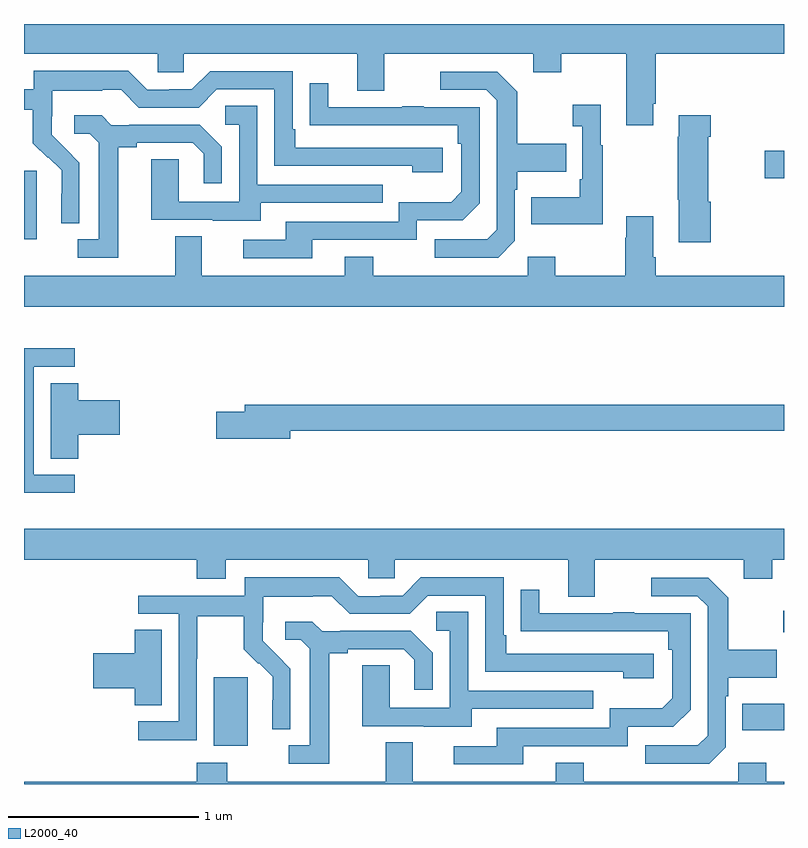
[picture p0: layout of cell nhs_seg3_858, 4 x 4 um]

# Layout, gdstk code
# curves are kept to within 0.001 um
import gdstk
lib = gdstk.Library(unit=1e-6, precision=1e-09)
def R(c, l, rs):  # rectangles x0, y0, x1, y1
    for r in rs: c.add(gdstk.rectangle(r[:2], r[2:], *l))
def P(c, l, *ps):  # polygons
    for p in ps: c.add(gdstk.Polygon(p, *l))
L2000_40 = (2000, 40)

nhs_seg3_858 = lib.new_cell('nhs_seg3_858')
R(nhs_seg3_858, L2000_40, [(155.999,702.602,156.178,702.963), (158.779,702.683,159,702.823), (158.997,703.199,159,703.312), (155,705.266,155.068,705.627), (158.898,705.587,159,705.734)])
P(nhs_seg3_858, L2000_40, [(158.311,705.979),(158.324,705.979),(158.324,706.244),(159,706.244),(159,706.4),(155,706.4),(155,706.244),(155.703,706.244),(155.703,706.146),(155.841,706.146),(155.841,706.244),(156.755,706.244),(156.755,706.05),(156.895,706.05),(156.895,706.244),(157.679,706.244),(157.679,706.145),(157.827,706.145),(157.827,706.244),(158.171,706.244),(158.171,705.867),(158.311,705.867)],
  [(155.292,705.67),(155.146,705.818),(155.146,705.915),(155.148,705.915),(155.148,706.049),(155.411,706.049),(155.411,706.053),(155.511,706.053),(155.604,705.96),(155.919,705.96),(156.015,706.056),(156.318,706.056),(156.318,705.654),(157.043,705.654),(157.043,705.62),(157.204,705.62),(157.204,705.75),(156.427,705.75),(156.427,705.847),(156.414,705.847),(156.414,706.152),(155.979,706.152),(155.883,706.056),(155.765,706.056),(155.765,706.053),(155.649,706.053),(155.549,706.153),(155.052,706.153),(155.052,706.056),(155,706.056),(155,705.948),(155.047,705.948),(155.047,705.773),(155.124,705.696),(155.127,705.699),(155.198,705.629),(155.198,705.506),(155.196,705.506),(155.196,705.352),(155.292,705.352)],
  [(157.584,705.258),(157.584,705.527),(157.597,705.527),(157.597,705.623),(157.853,705.623),(157.853,705.771),(157.597,705.771),(157.597,706.043),(157.491,706.149),(157.191,706.149),(157.191,706.053),(157.434,706.053),(157.488,705.999),(157.488,705.318),(157.437,705.267),(157.161,705.267),(157.161,705.171),(157.497,705.171)],
  [(156.517,705.264),(157.068,705.264),(157.068,705.366),(157.308,705.366),(157.398,705.456),(157.398,705.963),(157.103,705.963),(157.103,705.968),(156.991,705.968),(156.991,705.963),(156.601,705.963),(156.601,706.087),(156.505,706.087),(156.505,705.868),(157.282,705.867),(157.282,705.77),(157.302,705.77),(157.302,705.516),(157.249,705.463),(156.972,705.463),(156.972,705.36),(156.377,705.36),(156.377,705.264),(156.153,705.264),(156.153,705.168),(156.517,705.168)],
  [(158.047,705.763),(158.035,705.763),(158.035,705.976),(157.887,705.976),(157.887,705.863),(157.938,705.863),(157.938,705.583),(157.926,705.583),(157.926,705.487),(157.669,705.487),(157.669,705.347),(158.047,705.347)],
  [(156.247,705.459),(156.887,705.459),(156.887,705.555),(156.228,705.555),(156.228,705.971),(156.06,705.971),(156.06,705.87),(156.132,705.87),(156.132,705.465),(155.814,705.465),(155.814,705.689),(155.669,705.689),(155.669,705.369),(155.993,705.369),(155.993,705.365),(156.247,705.365)],
  [(155.497,705.752),(155.593,705.752),(155.593,705.774),(155.888,705.774),(155.945,705.717),(155.945,705.561),(156.042,705.561),(156.042,705.754),(155.926,705.87),(155.554,705.87),(155.554,705.867),(155.46,705.867),(155.408,705.919),(155.265,705.919),(155.265,705.822),(155.346,705.822),(155.393,705.775),(155.393,705.267),(155.283,705.267),(155.283,705.171),(155.497,705.171)],
  [(158.615,705.464),(158.602,705.464),(158.602,705.806),(158.615,705.806),(158.615,705.919),(158.447,705.919),(158.447,705.806),(158.44,705.806),(158.44,705.475),(158.447,705.475),(158.447,705.252),(158.615,705.252)],
  [(159,705.076),(158.324,705.076),(158.324,705.172),(158.311,705.172),(158.311,705.388),(158.171,705.388),(158.171,705.275),(158.164,705.275),(158.164,705.076),(157.797,705.076),(157.797,705.175),(157.65,705.175),(157.65,705.076),(156.837,705.076),(156.837,705.175),(156.689,705.175),(156.689,705.076),(155.935,705.076),(155.935,705.284),(155.795,705.284),(155.795,705.076),(155,705.076),(155,704.912),(159,704.912)],
  [(155.266,704.028),(155.052,704.028),(155.052,704.595),(155.266,704.595),(155.266,704.694),(155,704.694),(155,703.932),(155.266,703.932)],
  [(155.285,704.237),(155.503,704.237),(155.503,704.42),(155.285,704.42),(155.285,704.51),(155.141,704.51),(155.141,704.113),(155.285,704.113)],
  [(156.4,704.26),(159,704.26),(159,704.396),(156.161,704.396),(156.161,704.36),(156.012,704.36),(156.012,704.218),(156.4,704.218)],
  [(158.005,703.58),(158.789,703.58),(158.789,703.481),(158.937,703.481),(158.937,703.58),(159,703.58),(159,703.744),(155,703.744),(155,703.58),(155.909,703.58),(155.909,703.481),(156.061,703.481),(156.061,703.58),(156.813,703.58),(156.813,703.482),(156.951,703.482),(156.951,703.58),(157.865,703.58),(157.865,703.386),(158.005,703.386)],
  [(155.91,703.06),(155.913,703.06),(155.913,703.284),(156.157,703.284),(156.157,703.109),(156.234,703.032),(156.237,703.035),(156.308,702.965),(156.308,702.842),(156.306,702.842),(156.306,702.688),(156.402,702.688),(156.402,703.006),(156.256,703.154),(156.256,703.251),(156.258,703.251),(156.258,703.385),(156.521,703.385),(156.521,703.389),(156.621,703.389),(156.714,703.296),(157.029,703.296),(157.125,703.392),(157.428,703.392),(157.428,702.99),(158.153,702.99),(158.153,702.956),(158.314,702.956),(158.314,703.086),(157.537,703.086),(157.537,703.183),(157.524,703.183),(157.524,703.488),(157.089,703.488),(156.993,703.392),(156.875,703.392),(156.875,703.389),(156.759,703.389),(156.659,703.489),(156.162,703.489),(156.162,703.392),(155.601,703.392),(155.601,703.296),(155.814,703.296),(155.814,702.729),(155.601,702.729),(155.601,702.631),(155.91,702.631)],
  [(158.694,702.594),(158.694,702.863),(158.707,702.863),(158.707,702.959),(158.963,702.959),(158.963,703.107),(158.707,703.107),(158.707,703.379),(158.601,703.485),(158.301,703.485),(158.301,703.389),(158.544,703.389),(158.598,703.335),(158.598,702.654),(158.547,702.603),(158.271,702.603),(158.271,702.507),(158.607,702.507)],
  [(157.627,702.6),(158.178,702.6),(158.178,702.702),(158.418,702.702),(158.508,702.792),(158.508,703.299),(158.213,703.299),(158.213,703.304),(158.101,703.304),(158.101,703.299),(157.711,703.299),(157.711,703.423),(157.615,703.423),(157.615,703.204),(158.392,703.203),(158.392,703.106),(158.412,703.106),(158.412,702.852),(158.359,702.799),(158.082,702.799),(158.082,702.696),(157.487,702.696),(157.487,702.6),(157.263,702.6),(157.263,702.504),(157.627,702.504)],
  [(157.357,702.795),(157.997,702.795),(157.997,702.891),(157.338,702.891),(157.338,703.307),(157.17,703.307),(157.17,703.206),(157.242,703.206),(157.242,702.801),(156.924,702.801),(156.924,703.025),(156.779,703.025),(156.779,702.705),(157.103,702.705),(157.103,702.701),(157.357,702.701)],
  [(156.607,703.088),(156.703,703.088),(156.703,703.11),(156.998,703.11),(157.055,703.053),(157.055,702.897),(157.152,702.897),(157.152,703.09),(157.036,703.206),(156.664,703.206),(156.664,703.203),(156.57,703.203),(156.518,703.255),(156.375,703.255),(156.375,703.158),(156.456,703.158),(156.503,703.111),(156.503,702.603),(156.393,702.603),(156.393,702.507),(156.607,702.507)],
  [(155.725,703.211),(155.582,703.211),(155.582,703.088),(155.364,703.088),(155.364,702.905),(155.582,702.905),(155.582,702.814),(155.725,702.814)],
  [(159,702.412),(158.907,702.412),(158.907,702.511),(158.76,702.511),(158.76,702.412),(157.947,702.412),(157.947,702.511),(157.799,702.511),(157.799,702.412),(157.045,702.412),(157.045,702.62),(156.905,702.62),(156.905,702.412),(156.069,702.412),(156.069,702.511),(155.909,702.511),(155.909,702.412),(155,702.412),(155,702.4),(159,702.4)])

lib.write_gds('nhs_seg3_858.gds')
